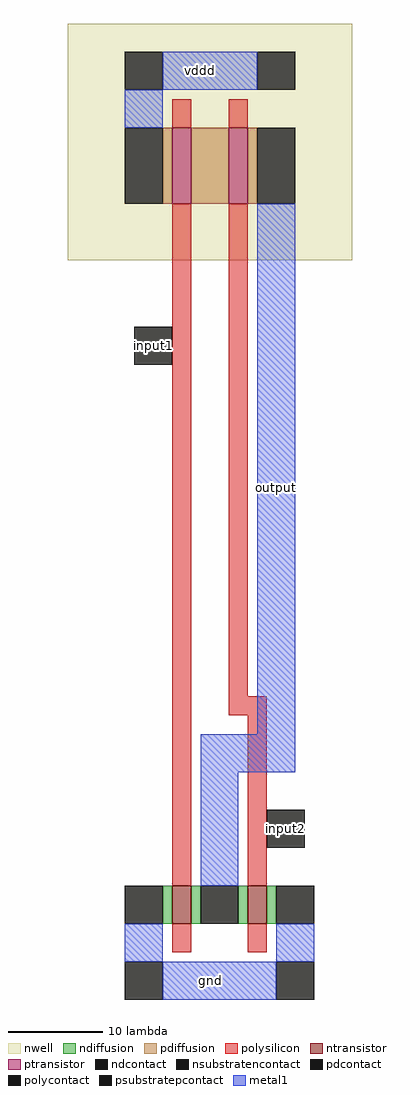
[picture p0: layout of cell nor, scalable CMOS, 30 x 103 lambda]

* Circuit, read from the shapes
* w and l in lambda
.subckt nor gnd input1 input2 output vddd
M1 output input1 gnd gnd nfet w=4 l=2
M2 gnd input2 output gnd nfet w=4 l=2
M3 n1 input1 vddd vddd pfet w=8 l=2
M4 output input2 n1 vddd pfet w=8 l=2
.ends

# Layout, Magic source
magic
tech scmos
<< nwell >>
rect -15 -7 15 18
<< ntransistor >>
rect -4 -77 -2 -73
rect 4 -77 6 -73
<< ptransistor >>
rect -4 -1 -2 7
rect 2 -1 4 7
<< ndiffusion >>
rect -5 -77 -4 -73
rect -2 -77 -1 -73
rect 3 -77 4 -73
rect 6 -77 7 -73
<< pdiffusion >>
rect -5 -1 -4 7
rect -2 -1 2 7
rect 4 -1 5 7
<< ndcontact >>
rect -9 -77 -5 -73
rect -1 -77 3 -73
rect 7 -77 11 -73
<< pdcontact >>
rect -9 -1 -5 7
rect 5 -1 9 7
<< psubstratepcontact >>
rect -9 -85 -5 -81
rect 7 -85 11 -81
<< nsubstratencontact >>
rect -9 11 -5 15
rect 5 11 9 15
<< polysilicon >>
rect -4 7 -2 10
rect 2 7 4 10
rect -4 -73 -2 -1
rect 2 -53 4 -1
rect 2 -55 6 -53
rect 4 -73 6 -55
rect -4 -80 -2 -77
rect 4 -80 6 -77
<< polycontact >>
rect -8 -18 -4 -14
rect 6 -69 10 -65
<< metal1 >>
rect -5 11 5 15
rect -9 7 -5 11
rect 5 -57 9 -1
rect -1 -61 9 -57
rect -1 -73 3 -61
rect -9 -81 -5 -77
rect 7 -81 11 -77
rect -5 -85 7 -81
<< labels >>
rlabel metal1 0 -83 0 -83 1 gnd
rlabel polycontact -6 -16 -6 -16 1 input1
rlabel metal1 -1 13 -1 13 5 vddd
rlabel metal1 7 -31 7 -31 1 output
rlabel polycontact 8 -67 8 -67 1 input2
<< end >>
